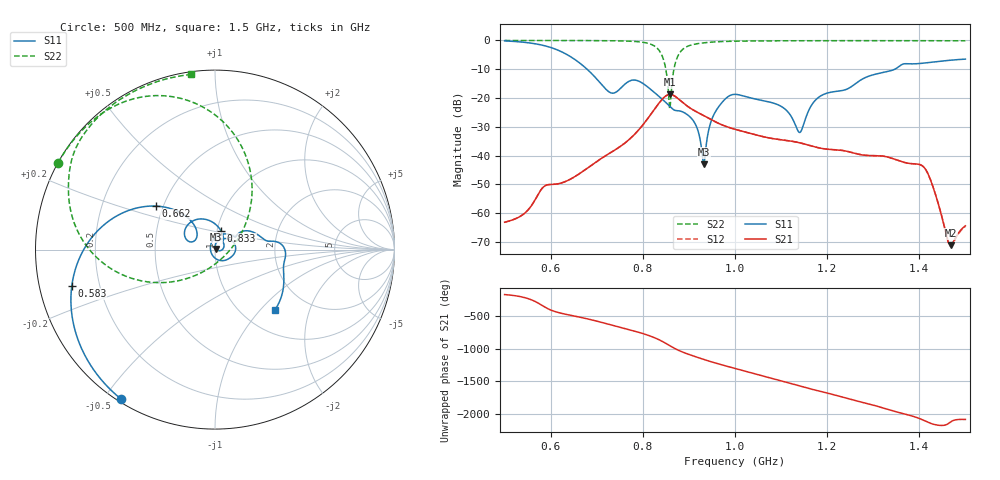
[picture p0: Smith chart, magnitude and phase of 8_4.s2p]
! TOUCHSTONE file generated by CST MICROWAVE STUDIO
! Date and time: Wed Oct 28 19:14:45 2020
! Project name: Scenario_1_Circular_Tissue_out_of_Line.cst
! Parameters = {dy1=-224.613; L_HA=400; MT=2.54; Rad_Dielectric=30; Rad_Lower=7.3; Rad_Upper=30; a_HA=580; a_WG=246; b_HA=500; b_WG=121; c_HA=0; c_WG=187; d_feed=85; dx1=693; h_feed=15; h_lower=18; h_upper=40}
! Header version: 2018
! Port assignment regex: !\s*Touchstone port\s*([0-9]+)\s*=\s*(CST MWS port|CST DS port)\s*([0-9]+|Zmin|Zmax)\s*\(\"(.*)\"\)(\s*mode\s*([0-9]+))?.*
! Touchstone port assignment:
! Touchstone port 1 = CST MWS port 1 ("")
! Touchstone port 2 = CST MWS port 2 ("")
# GHz S DB R 50
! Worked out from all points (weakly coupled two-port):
!   1001 points, 500 MHz to 1.5 GHz, reference 50 ohm
!   highest |S21| = -18.77 dB at 859 MHz (marker M1); lowest = -71.2 dB at 1.468 GHz (marker M2)
!   lowest |S11| = -43.1 dB at 932 MHz (marker M3), VSWR 1.01, Z = 50.6 + j0.367 ohm
!   |S11| at or under -10 dB: 678.9 MHz to 1.347 GHz (667.9 MHz wide, 65.9 % of centre)
!   |S22| runs from -23.8 to 0.0 dB; largest |S21 - S12| = 1.6e-05
!   S11 on the Smith chart (normalised r, x): 500 MHz: 0.01, -0.55; 583 MHz: 0.10, -0.12; 662 MHz: 0.45, +0.26; 833 MHz: 1.04, +0.22; 1.5 GHz: 1.39, -1.21
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0.5  -0.15 -122.3  -63.19 -176.0  -63.19 -176.0  -0.01 151.1
0.545  -0.69 -143.9  -59.85 134.3  -59.84 134.1  -0.01 148.1
0.583  -1.69 -165.8  -51.13 11.6  -51.13 11.6  -0.02 145.4
0.662  -7.73 143.8  -46.35 -159.0  -46.34 -159.0  -0.04 138.8
0.667  -8.36 141.2  -45.80 -166.4  -45.80 -166.4  -0.04 138.4
0.731  -18.24 146.4  -38.91 82.0  -38.91 82.0  -0.11 130.7
0.778  -13.78 140.0  -33.28 -5.2  -33.28 -5.2  -0.31 121.0
0.833  -19.17 72.5  -22.22 -137.3  -22.22 -137.3  -3.01 85.8
0.834  -19.30 71.5  -22.01 -140.6  -22.01 -140.6  -3.20 84.4
0.859  -22.98 48.9  -18.77 123.5  -18.77 123.5  -23.73 -65.0
0.88  -24.50 36.8  -20.71 46.6  -20.71 46.6  -4.31 -171.4
0.913  -28.79 -5.4  -24.50 -39.5  -24.50 -39.5  -1.28 160.6
0.932  -43.11 31.2  -26.13 -83.7  -26.13 -83.7  -0.84 153.8
0.955  -25.50 69.1  -28.10 -133.5  -28.10 -133.5  -0.52 148.0
1  -18.74 6.2  -30.88 138.7  -30.88 138.7  -0.26 140.3
1.1  -22.90 -59.5  -34.52 -49.8  -34.52 -49.8  -0.13 129.7
1.14  -31.99 -167.9  -35.56 -127.3  -35.56 -127.3  -0.11 126.3
1.167  -22.28 80.1  -36.72 -178.2  -36.72 -178.2  -0.09 124.2
1.334  -10.69 9.6  -40.64 -129.5  -40.64 -129.5  -0.09 111.5
1.413  -7.83 -19.5  -44.68 56.8  -44.68 56.8  -0.10 105.2
1.468  -6.87 -35.4  -71.22 44.1  -71.50 41.4  -0.12 100.7
1.5  -6.49 -45.3  -64.43 82.0  -64.63 82.3  -0.13 97.9
